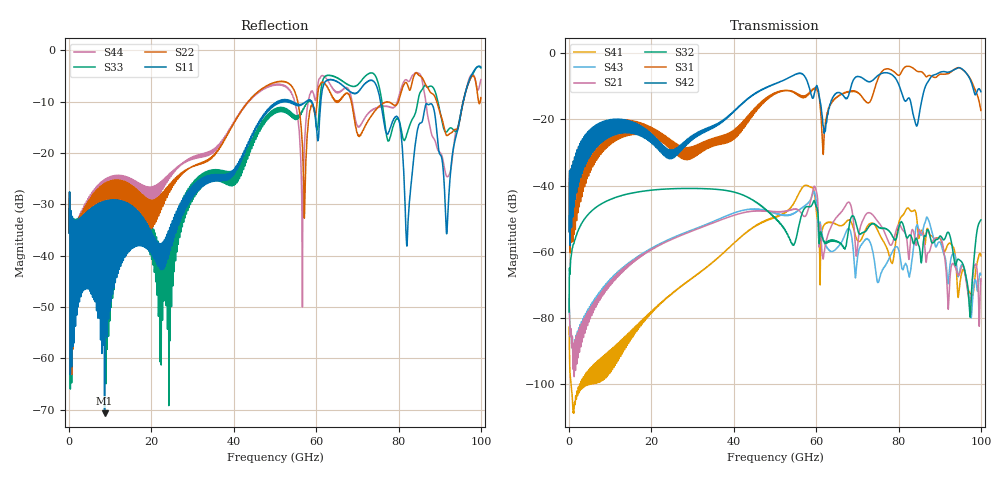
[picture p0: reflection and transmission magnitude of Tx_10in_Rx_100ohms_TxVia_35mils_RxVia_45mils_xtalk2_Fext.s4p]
! Info: Touchstone file created by Circ.  Input file=Tx_10in_Rx_100ohms_TxVia_35mils_RxVia_45mils.circ
# Hz S RI R 50
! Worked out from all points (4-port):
!   10000 points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, 10 MHz to 100 GHz, reference 50 ohm
!   strongest paths, dB at 10 MHz, 25.01 GHz, 50.01 GHz, 75.01 GHz, 100 GHz:
!     S42: -53.9, -29.8, -9.3, -6.8, -11.6
!     S31: -53.9, -28.2, -12.2, -7.8, -17.3
!     S32: -78.2, -41.0, -50.0, -52.4, -50.4
!     S21: -74.4, -56.2, -48.0, -50.9, -68.1
!     S43: -74.4, -55.9, -48.4, -69.3, -67.0
!     S41: -82.8, -72.7, -49.5, -53.7, -61.2
!   lowest |S11| = -70.7 dB at 8.62 GHz (marker M1), VSWR 1.00, Z = 50 + j0.0115 ohm
!   |S11| at or under -10 dB: start of sweep to 50.63 GHz; 54.26 GHz to 57.49 GHz (3.231 GHz wide, 5.78 % of centre); 75.64 GHz to 95.73 GHz (20.08 GHz wide, 23.4 % of centre)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
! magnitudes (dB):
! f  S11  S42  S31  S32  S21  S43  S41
! 10 MHz  -35.6  -53.9  -53.9  -78.2  -74.4  -74.4  -82.8
! 8.62 GHz  -70.7  -25.8  -28.5  -45.0  -70.9  -70.2  -94.2
! 59.63 GHz  -11.9  -11.9  -10.7  -44.8  -40.2  -42.1  -42.8
! 87.98 GHz  -10.5  -7.1  -6.9  -57.0  -58.0  -53.3  -55.2
! 91.74 GHz  -35.5  -5.8  -6.3  -54.5  -69.2  -66.2  -58.5
! 97.32 GHz  -5.5  -7.7  -7.5  -79.1  -77.3  -76.5  -72.4
! 100 GHz  -3.3  -11.6  -17.3  -50.4  -68.1  -67.0  -61.2
